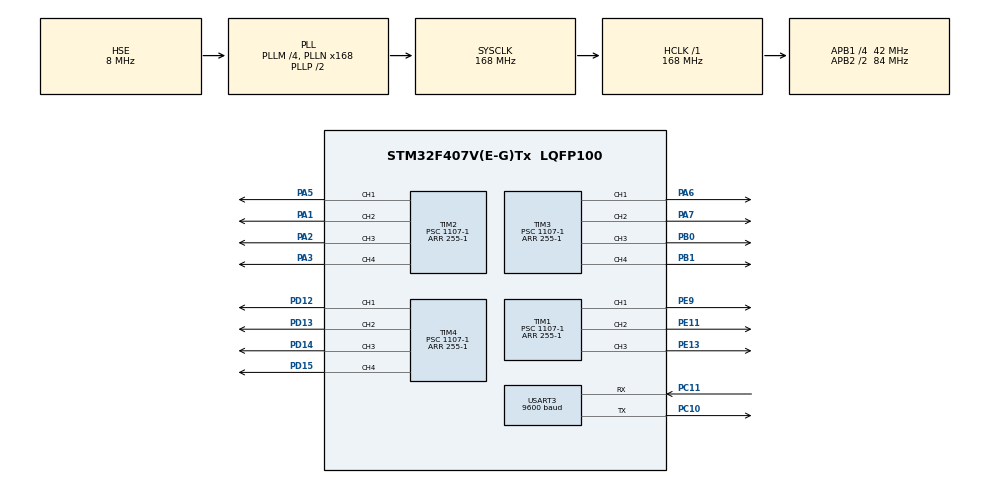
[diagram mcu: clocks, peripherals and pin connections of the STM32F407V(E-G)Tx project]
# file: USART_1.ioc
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Mcu.Family=STM32F4
Mcu.Name=STM32F407V(E-G)Tx
Mcu.Package=LQFP100
NVIC.PriorityGroup=NVIC_PRIORITYGROUP_4
NVIC.USART3_IRQn=true\:0\:0\:false\:false\:true\:true\:true
PA1.Signal=S_TIM2_CH2
PA2.Signal=S_TIM2_CH3
PA3.Signal=S_TIM2_CH4
PA5.Signal=S_TIM2_CH1_ETR
PA6.Signal=S_TIM3_CH1
PA7.Signal=S_TIM3_CH2
PB0.Signal=S_TIM3_CH3
PB1.Signal=S_TIM3_CH4
PC10.Mode=Asynchronous
PC10.Signal=USART3_TX
PC11.Mode=Asynchronous
PC11.Signal=USART3_RX
PD12.Signal=S_TIM4_CH1
PD13.Signal=S_TIM4_CH2
PD14.Signal=S_TIM4_CH3
PD15.Signal=S_TIM4_CH4
PE11.Signal=S_TIM1_CH2
PE13.Signal=S_TIM1_CH3
PE9.Signal=S_TIM1_CH1
PH0-OSC_IN.Mode=HSE-External-Oscillator
PH0-OSC_IN.Signal=RCC_OSC_IN
PH1-OSC_OUT.Mode=HSE-External-Oscillator
PH1-OSC_OUT.Signal=RCC_OSC_OUT
ProjectManager.HeapSize=0x200
ProjectManager.StackSize=0x400
ProjectManager.TargetToolchain=SW4STM32
RCC.48MHZClocksFreq_Value=84000000
RCC.AHBFreq_Value=168000000
RCC.APB1CLKDivider=RCC_HCLK_DIV4
RCC.APB1Freq_Value=42000000
RCC.APB1TimFreq_Value=84000000
RCC.APB2CLKDivider=RCC_HCLK_DIV2
RCC.APB2Freq_Value=84000000
RCC.APB2TimFreq_Value=168000000
RCC.CortexFreq_Value=168000000
RCC.HCLKFreq_Value=168000000
RCC.HSE_VALUE=8000000
RCC.HSI_VALUE=16000000
RCC.LSE_VALUE=32768
RCC.PLLM=4
RCC.PLLN=168
RCC.PLLSourceVirtual=RCC_PLLSOURCE_HSE
RCC.SYSCLKFreq_VALUE=168000000
RCC.SYSCLKSource=RCC_SYSCLKSOURCE_PLLCLK
RCC.VCOOutputFreq_Value=336000000
SH.S_TIM1_CH1.0=TIM1_CH1,PWM Generation1 CH1
SH.S_TIM1_CH2.0=TIM1_CH2,PWM Generation2 CH2
SH.S_TIM1_CH3.0=TIM1_CH3,PWM Generation3 CH3
SH.S_TIM2_CH1_ETR.0=TIM2_CH1,PWM Generation1 CH1
SH.S_TIM2_CH2.0=TIM2_CH2,PWM Generation2 CH2
SH.S_TIM2_CH3.0=TIM2_CH3,PWM Generation3 CH3
SH.S_TIM2_CH4.0=TIM2_CH4,PWM Generation4 CH4
SH.S_TIM3_CH1.0=TIM3_CH1,PWM Generation1 CH1
SH.S_TIM3_CH2.0=TIM3_CH2,PWM Generation2 CH2
SH.S_TIM3_CH3.0=TIM3_CH3,PWM Generation3 CH3
SH.S_TIM3_CH4.0=TIM3_CH4,PWM Generation4 CH4
SH.S_TIM4_CH1.0=TIM4_CH1,PWM Generation1 CH1
SH.S_TIM4_CH2.0=TIM4_CH2,PWM Generation2 CH2
SH.S_TIM4_CH3.0=TIM4_CH3,PWM Generation3 CH3
SH.S_TIM4_CH4.0=TIM4_CH4,PWM Generation4 CH4
TIM1.Channel-PWM\ Generation1\ CH1=TIM_CHANNEL_1
TIM1.Channel-PWM\ Generation2\ CH2=TIM_CHANNEL_2
TIM1.Channel-PWM\ Generation3\ CH3=TIM_CHANNEL_3
TIM1.Period=255-1
TIM1.Prescaler=1107-1
TIM2.Channel-PWM\ Generation1\ CH1=TIM_CHANNEL_1
TIM2.Channel-PWM\ Generation2\ CH2=TIM_CHANNEL_2
TIM2.Channel-PWM\ Generation3\ CH3=TIM_CHANNEL_3
TIM2.Channel-PWM\ Generation4\ CH4=TIM_CHANNEL_4
TIM2.Period=255-1
TIM2.Prescaler=1107-1
TIM3.Channel-PWM\ Generation1\ CH1=TIM_CHANNEL_1
TIM3.Channel-PWM\ Generation2\ CH2=TIM_CHANNEL_2
TIM3.Channel-PWM\ Generation3\ CH3=TIM_CHANNEL_3
TIM3.Channel-PWM\ Generation4\ CH4=TIM_CHANNEL_4
TIM3.Period=255-1
TIM3.Prescaler=1107-1
TIM4.Channel-PWM\ Generation1\ CH1=TIM_CHANNEL_1
TIM4.Channel-PWM\ Generation2\ CH2=TIM_CHANNEL_2
TIM4.Channel-PWM\ Generation3\ CH3=TIM_CHANNEL_3
TIM4.Channel-PWM\ Generation4\ CH4=TIM_CHANNEL_4
TIM4.Period=255-1
TIM4.Prescaler=1107-1
USART3.BaudRate=9600
USART3.VirtualMode=VM_ASYNC
VP_TIM1_VS_ClockSourceINT.Mode=Internal
VP_TIM2_VS_ClockSourceINT.Mode=Internal
VP_TIM3_VS_ClockSourceINT.Mode=Internal
VP_TIM4_VS_ClockSourceINT.Mode=Internal
board=custom

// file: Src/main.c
/* USER CODE BEGIN Header */
/**
  ******************************************************************************
  * @file           : main.c
  * @brief          : Main program body
  ******************************************************************************
  * @attention
  *
  * <h2><center>&copy; Copyright (c) 2019 STMicroelectronics.
  * All rights reserved.</center></h2>
  *
  * This software component is licensed by ST under BSD 3-Clause license,
  * the "License"; You may not use this file except in compliance with the
  * License. You may obtain a copy of the License at:
  *                        opensource.org/licenses/BSD-3-Clause
  *
  ******************************************************************************
  */
/* USER CODE END Header */

#include "main.h"

TIM_HandleTypeDef htim1;
TIM_HandleTypeDef htim2;
TIM_HandleTypeDef htim3;
TIM_HandleTypeDef htim4;
UART_HandleTypeDef huart3;
int blue;
int green;
int red;
int red1=0;
int green1=0;
int blue1=0;

/* USER CODE BEGIN PV */
uint8_t Received[10];
uint16_t sizeReiceveUART =10;
/* USER CODE END PV */

void SystemClock_Config(void);
static void MX_GPIO_Init(void);
static void MX_TIM1_Init(void);
static void MX_TIM2_Init(void);
static void MX_TIM3_Init(void);
static void MX_TIM4_Init(void);
static void MX_USART3_UART_Init(void);
/* USER CODE BEGIN PFP */
void HAL_UART_RxCpltCallback(UART_HandleTypeDef *huart) {

		red=Received[1];
		green=Received[2];
		blue=Received[3];

	  if (Received[0]=='a'){
	 rgb_set_1 (red,green,blue);}
	  if (Received[0]=='b'){
	 rgb_set_2 (red,green,blue);}
	  if (Received[0]=='c'){
	 rgb_set_3 (red,green,blue);}
	  if (Received[0]=='d'){
	 rgb_set_4 (red,green,blue);}

HAL_UART_Receive_IT(&huart3, &Received, 10);

}

/* USER CODE END PFP */

/* USER CODE BEGIN 0 */
void rgb_set_1 (uint8_t r1, uint8_t g1, uint8_t b1)
{
	htim1.Instance->CCR1 = r1;
	htim1.Instance->CCR2 = g1;
	htim1.Instance->CCR3 = b1;

}

void rgb_set_2 (uint8_t r2, uint8_t g2, uint8_t b2)
{
	htim2.Instance->CCR1 = r2;
	htim2.Instance->CCR2 = g2;
	htim2.Instance->CCR3 = b2;

}

void rgb_set_3 (uint8_t r3, uint8_t g3, uint8_t b3)
{
	htim3.Instance->CCR1 = r3;
	htim3.Instance->CCR2 = g3;
	htim3.Instance->CCR3 = b3;

}

void rgb_set_4 (uint8_t r4, uint8_t g4, uint8_t b4)
{
	htim4.Instance->CCR1 = r4;
	htim4.Instance->CCR2 = g4;
	htim4.Instance->CCR3 = b4;

}
/* USER CODE END 0 */

int main(void)
{

  /* MCU Configuration--------------------------------------------------------*/

  /* Reset of all peripherals, Initializes the Flash interface and the Systick. */
  HAL_Init();

  /* Configure the system clock */
  SystemClock_Config();

  /* Initialize all configured peripherals */
  MX_GPIO_Init();
  MX_TIM1_Init();
  MX_TIM2_Init();
  MX_TIM3_Init();
  MX_TIM4_Init();
  MX_USART3_UART_Init();
  /* USER CODE BEGIN 2 */
  HAL_UART_Receive_IT(&huart3, &Received, 10);

  HAL_TIM_PWM_Start (&htim1, TIM_CHANNEL_1);
    HAL_TIM_PWM_Start (&htim1, TIM_CHANNEL_2);
    HAL_TIM_PWM_Start (&htim1, TIM_CHANNEL_3);
    HAL_TIM_PWM_Start (&htim2, TIM_CHANNEL_1);
    HAL_TIM_PWM_Start (&htim2, TIM_CHANNEL_2);
    HAL_TIM_PWM_Start (&htim2, TIM_CHANNEL_3);
    HAL_TIM_PWM_Start (&htim3, TIM_CHANNEL_1);
    HAL_TIM_PWM_Start (&htim3, TIM_CHANNEL_2);
    HAL_TIM_PWM_Start (&htim3, TIM_CHANNEL_3);
    HAL_TIM_PWM_Start (&htim4, TIM_CHANNEL_1);
    HAL_TIM_PWM_Start (&htim4, TIM_CHANNEL_2);
    HAL_TIM_PWM_Start (&htim4, TIM_CHANNEL_3);
  /* USER CODE END 2 */

  /* Infinite loop */
  while (1)
  {

  }
}

void SystemClock_Config(void)
{
  RCC_OscInitTypeDef RCC_OscInitStruct = {0};
  RCC_ClkInitTypeDef RCC_ClkInitStruct = {0};

  /** Configure the main internal regulator output voltage
  */
  __HAL_RCC_PWR_CLK_ENABLE();
  __HAL_PWR_VOLTAGESCALING_CONFIG(PWR_REGULATOR_VOLTAGE_SCALE1);
  /** Initializes the CPU, AHB and APB busses clocks
  */
  RCC_OscInitStruct.OscillatorType = RCC_OSCILLATORTYPE_HSE;
  RCC_OscInitStruct.HSEState = RCC_HSE_ON;
  RCC_OscInitStruct.PLL.PLLState = RCC_PLL_ON;
  RCC_OscInitStruct.PLL.PLLSource = RCC_PLLSOURCE_HSE;
  RCC_OscInitStruct.PLL.PLLM = 4;
  RCC_OscInitStruct.PLL.PLLN = 168;
  RCC_OscInitStruct.PLL.PLLP = RCC_PLLP_DIV2;
  RCC_OscInitStruct.PLL.PLLQ = 4;
  if (HAL_RCC_OscConfig(&RCC_OscInitStruct) != HAL_OK)
  {
    Error_Handler();
  }
  /** Initializes the CPU, AHB and APB busses clocks
  */
  RCC_ClkInitStruct.ClockType = RCC_CLOCKTYPE_HCLK|RCC_CLOCKTYPE_SYSCLK
                              |RCC_CLOCKTYPE_PCLK1|RCC_CLOCKTYPE_PCLK2;
  RCC_ClkInitStruct.SYSCLKSource = RCC_SYSCLKSOURCE_PLLCLK;
  RCC_ClkInitStruct.AHBCLKDivider = RCC_SYSCLK_DIV1;
  RCC_ClkInitStruct.APB1CLKDivider = RCC_HCLK_DIV4;
  RCC_ClkInitStruct.APB2CLKDivider = RCC_HCLK_DIV2;

  if (HAL_RCC_ClockConfig(&RCC_ClkInitStruct, FLASH_LATENCY_5) != HAL_OK)
  {
    Error_Handler();
  }
}

static void MX_TIM1_Init(void)
{

  TIM_ClockConfigTypeDef sClockSourceConfig = {0};
  TIM_MasterConfigTypeDef sMasterConfig = {0};
  TIM_OC_InitTypeDef sConfigOC = {0};
  TIM_BreakDeadTimeConfigTypeDef sBreakDeadTimeConfig = {0};

  htim1.Instance = TIM1;
  htim1.Init.Prescaler = 1107-1;
  htim1.Init.CounterMode = TIM_COUNTERMODE_UP;
  htim1.Init.Period = 255-1;
  htim1.Init.ClockDivision = TIM_CLOCKDIVISION_DIV1;
  htim1.Init.RepetitionCounter = 0;
  htim1.Init.AutoReloadPreload = TIM_AUTORELOAD_PRELOAD_DISABLE;
  if (HAL_TIM_Base_Init(&htim1) != HAL_OK)
  {
    Error_Handler();
  }
  sClockSourceConfig.ClockSource = TIM_CLOCKSOURCE_INTERNAL;
  if (HAL_TIM_ConfigClockSource(&htim1, &sClockSourceConfig) != HAL_OK)
  {
    Error_Handler();
  }
  if (HAL_TIM_PWM_Init(&htim1) != HAL_OK)
  {
    Error_Handler();
  }
  sMasterConfig.MasterOutputTrigger = TIM_TRGO_RESET;
  sMasterConfig.MasterSlaveMode = TIM_MASTERSLAVEMODE_DISABLE;
  if (HAL_TIMEx_MasterConfigSynchronization(&htim1, &sMasterConfig) != HAL_OK)
  {
    Error_Handler();
  }
  sConfigOC.OCMode = TIM_OCMODE_PWM1;
  sConfigOC.Pulse = 0;
  sConfigOC.OCPolarity = TIM_OCPOLARITY_HIGH;
  sConfigOC.OCNPolarity = TIM_OCNPOLARITY_HIGH;
  sConfigOC.OCFastMode = TIM_OCFAST_DISABLE;
  sConfigOC.OCIdleState = TIM_OCIDLESTATE_RESET;
  sConfigOC.OCNIdleState = TIM_OCNIDLESTATE_RESET;
  if (HAL_TIM_PWM_ConfigChannel(&htim1, &sConfigOC, TIM_CHANNEL_1) != HAL_OK)
  {
    Error_Handler();
  }
  if (HAL_TIM_PWM_ConfigChannel(&htim1, &sConfigOC, TIM_CHANNEL_2) != HAL_OK)
  {
    Error_Handler();
  }
  if (HAL_TIM_PWM_ConfigChannel(&htim1, &sConfigOC, TIM_CHANNEL_3) != HAL_OK)
  {
    Error_Handler();
  }
  sBreakDeadTimeConfig.OffStateRunMode = TIM_OSSR_DISABLE;
  sBreakDeadTimeConfig.OffStateIDLEMode = TIM_OSSI_DISABLE;
  sBreakDeadTimeConfig.LockLevel = TIM_LOCKLEVEL_OFF;
  sBreakDeadTimeConfig.DeadTime = 0;
  sBreakDeadTimeConfig.BreakState = TIM_BREAK_DISABLE;
  sBreakDeadTimeConfig.BreakPolarity = TIM_BREAKPOLARITY_HIGH;
  sBreakDeadTimeConfig.AutomaticOutput = TIM_AUTOMATICOUTPUT_DISABLE;
  if (HAL_TIMEx_ConfigBreakDeadTime(&htim1, &sBreakDeadTimeConfig) != HAL_OK)
  {
    Error_Handler();
  }
  HAL_TIM_MspPostInit(&htim1);

}

static void MX_TIM2_Init(void)
{

  TIM_ClockConfigTypeDef sClockSourceConfig = {0};
  TIM_MasterConfigTypeDef sMasterConfig = {0};
  TIM_OC_InitTypeDef sConfigOC = {0};

  htim2.Instance = TIM2;
  htim2.Init.Prescaler = 1107-1;
  htim2.Init.CounterMode = TIM_COUNTERMODE_UP;
  htim2.Init.Period = 255-1;
  htim2.Init.ClockDivision = TIM_CLOCKDIVISION_DIV1;
  htim2.Init.AutoReloadPreload = TIM_AUTORELOAD_PRELOAD_DISABLE;
  if (HAL_TIM_Base_Init(&htim2) != HAL_OK)
  {
    Error_Handler();
  }
  sClockSourceConfig.ClockSource = TIM_CLOCKSOURCE_INTERNAL;
  if (HAL_TIM_ConfigClockSource(&htim2, &sClockSourceConfig) != HAL_OK)
  {
    Error_Handler();
  }
  if (HAL_TIM_PWM_Init(&htim2) != HAL_OK)
  {
    Error_Handler();
  }
  sMasterConfig.MasterOutputTrigger = TIM_TRGO_RESET;
  sMasterConfig.MasterSlaveMode = TIM_MASTERSLAVEMODE_DISABLE;
  if (HAL_TIMEx_MasterConfigSynchronization(&htim2, &sMasterConfig) != HAL_OK)
  {
    Error_Handler();
  }
  sConfigOC.OCMode = TIM_OCMODE_PWM1;
  sConfigOC.Pulse = 0;
  sConfigOC.OCPolarity = TIM_OCPOLARITY_HIGH;
  sConfigOC.OCFastMode = TIM_OCFAST_DISABLE;
  if (HAL_TIM_PWM_ConfigChannel(&htim2, &sConfigOC, TIM_CHANNEL_1) != HAL_OK)
  {
    Error_Handler();
  }
  if (HAL_TIM_PWM_ConfigChannel(&htim2, &sConfigOC, TIM_CHANNEL_2) != HAL_OK)
  {
    Error_Handler();
  }
  if (HAL_TIM_PWM_ConfigChannel(&htim2, &sConfigOC, TIM_CHANNEL_3) != HAL_OK)
  {
    Error_Handler();
  }
  if (HAL_TIM_PWM_ConfigChannel(&htim2, &sConfigOC, TIM_CHANNEL_4) != HAL_OK)
  {
    Error_Handler();
  }
  HAL_TIM_MspPostInit(&htim2);

}

static void MX_TIM3_Init(void)
{

  TIM_ClockConfigTypeDef sClockSourceConfig = {0};
  TIM_MasterConfigTypeDef sMasterConfig = {0};
  TIM_OC_InitTypeDef sConfigOC = {0};

  htim3.Instance = TIM3;
  htim3.Init.Prescaler = 1107-1;
  htim3.Init.CounterMode = TIM_COUNTERMODE_UP;
  htim3.Init.Period = 255-1;
  htim3.Init.ClockDivision = TIM_CLOCKDIVISION_DIV1;
  htim3.Init.AutoReloadPreload = TIM_AUTORELOAD_PRELOAD_DISABLE;
  if (HAL_TIM_Base_Init(&htim3) != HAL_OK)
  {
    Error_Handler();
  }
  sClockSourceConfig.ClockSource = TIM_CLOCKSOURCE_INTERNAL;
  if (HAL_TIM_ConfigClockSource(&htim3, &sClockSourceConfig) != HAL_OK)
  {
    Error_Handler();
  }
  if (HAL_TIM_PWM_Init(&htim3) != HAL_OK)
  {
    Error_Handler();
  }
  sMasterConfig.MasterOutputTrigger = TIM_TRGO_RESET;
  sMasterConfig.MasterSlaveMode = TIM_MASTERSLAVEMODE_DISABLE;
  if (HAL_TIMEx_MasterConfigSynchronization(&htim3, &sMasterConfig) != HAL_OK)
  {
    Error_Handler();
  }
  sConfigOC.OCMode = TIM_OCMODE_PWM1;
  sConfigOC.Pulse = 0;
  sConfigOC.OCPolarity = TIM_OCPOLARITY_HIGH;
  sConfigOC.OCFastMode = TIM_OCFAST_DISABLE;
  if (HAL_TIM_PWM_ConfigChannel(&htim3, &sConfigOC, TIM_CHANNEL_1) != HAL_OK)
  {
    Error_Handler();
  }
  if (HAL_TIM_PWM_ConfigChannel(&htim3, &sConfigOC, TIM_CHANNEL_2) != HAL_OK)
  {
    Error_Handler();
  }
  if (HAL_TIM_PWM_ConfigChannel(&htim3, &sConfigOC, TIM_CHANNEL_3) != HAL_OK)
  {
    Error_Handler();
  }
  if (HAL_TIM_PWM_ConfigChannel(&htim3, &sConfigOC, TIM_CHANNEL_4) != HAL_OK)
  {
    Error_Handler();
  }
  HAL_TIM_MspPostInit(&htim3);

}

static void MX_TIM4_Init(void)
{

  TIM_ClockConfigTypeDef sClockSourceConfig = {0};
  TIM_MasterConfigTypeDef sMasterConfig = {0};
  TIM_OC_InitTypeDef sConfigOC = {0};

  htim4.Instance = TIM4;
  htim4.Init.Prescaler = 1107-1;
  htim4.Init.CounterMode = TIM_COUNTERMODE_UP;
  htim4.Init.Period = 255-1;
  htim4.Init.ClockDivision = TIM_CLOCKDIVISION_DIV1;
  htim4.Init.AutoReloadPreload = TIM_AUTORELOAD_PRELOAD_DISABLE;
  if (HAL_TIM_Base_Init(&htim4) != HAL_OK)
  {
    Error_Handler();
  }
  sClockSourceConfig.ClockSource = TIM_CLOCKSOURCE_INTERNAL;
  if (HAL_TIM_ConfigClockSource(&htim4, &sClockSourceConfig) != HAL_OK)
  {
    Error_Handler();
  }
  if (HAL_TIM_PWM_Init(&htim4) != HAL_OK)
  {
    Error_Handler();
  }
  sMasterConfig.MasterOutputTrigger = TIM_TRGO_RESET;
  sMasterConfig.MasterSlaveMode = TIM_MASTERSLAVEMODE_DISABLE;
  if (HAL_TIMEx_MasterConfigSynchronization(&htim4, &sMasterConfig) != HAL_OK)
  {
    Error_Handler();
  }
  sConfigOC.OCMode = TIM_OCMODE_PWM1;
  sConfigOC.Pulse = 0;
  sConfigOC.OCPolarity = TIM_OCPOLARITY_HIGH;
  sConfigOC.OCFastMode = TIM_OCFAST_DISABLE;
  if (HAL_TIM_PWM_ConfigChannel(&htim4, &sConfigOC, TIM_CHANNEL_1) != HAL_OK)
  {
    Error_Handler();
  }
  if (HAL_TIM_PWM_ConfigChannel(&htim4, &sConfigOC, TIM_CHANNEL_2) != HAL_OK)
  {
    Error_Handler();
  }
  if (HAL_TIM_PWM_ConfigChannel(&htim4, &sConfigOC, TIM_CHANNEL_3) != HAL_OK)
  {
    Error_Handler();
  }
  if (HAL_TIM_PWM_ConfigChannel(&htim4, &sConfigOC, TIM_CHANNEL_4) != HAL_OK)
  {
    Error_Handler();
  }
  HAL_TIM_MspPostInit(&htim4);

}

static void MX_USART3_UART_Init(void)
{

  huart3.Instance = USART3;
  huart3.Init.BaudRate = 9600;
  huart3.Init.WordLength = UART_WORDLENGTH_8B;
  huart3.Init.StopBits = UART_STOPBITS_1;
  huart3.Init.Parity = UART_PARITY_NONE;
  huart3.Init.Mode = UART_MODE_TX_RX;
  huart3.Init.HwFlowCtl = UART_HWCONTROL_NONE;
  huart3.Init.OverSampling = UART_OVERSAMPLING_16;
  if (HAL_UART_Init(&huart3) != HAL_OK)
  {
    Error_Handler();
  }

}

static void MX_GPIO_Init(void)
{

  /* GPIO Ports Clock Enable */
  __HAL_RCC_GPIOH_CLK_ENABLE();
  __HAL_RCC_GPIOA_CLK_ENABLE();
  __HAL_RCC_GPIOB_CLK_ENABLE();
  __HAL_RCC_GPIOE_CLK_ENABLE();
  __HAL_RCC_GPIOD_CLK_ENABLE();
  __HAL_RCC_GPIOC_CLK_ENABLE();

}

void Error_Handler(void)
{
}

/************************ (C) COPYRIGHT STMicroelectronics *****END OF FILE****/
